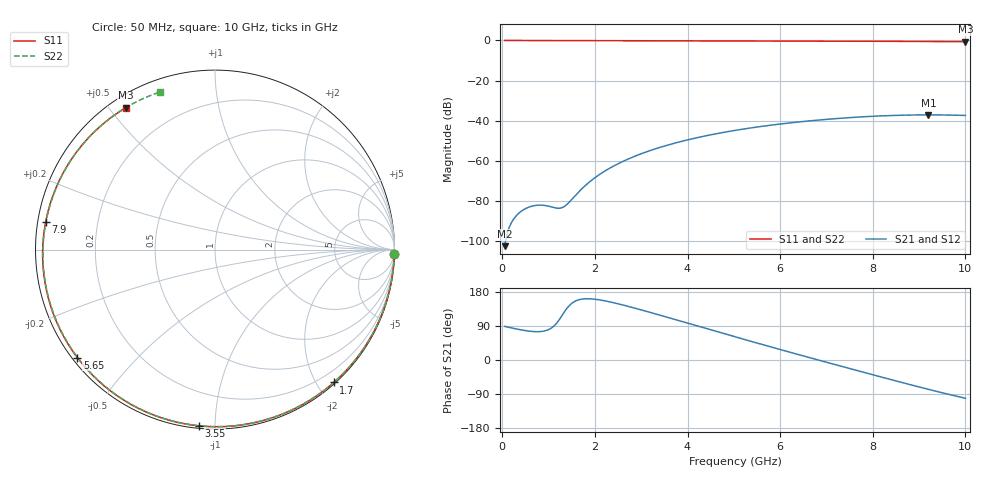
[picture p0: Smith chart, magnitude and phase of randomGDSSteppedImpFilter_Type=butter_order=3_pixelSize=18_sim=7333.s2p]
! freq	dB(S11)	phase(S11)	dB(S12)	phase(S12)
!  dB(S21)	phase(S21)	dB(S22)	phase(S22)
!S-par simulation data
#  GHz  S  DB  R 50
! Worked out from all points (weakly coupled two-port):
!   200 points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, 50 MHz to 10 GHz, reference 50 ohm
!   highest |S21| = -37.11 dB at 9.2 GHz (marker M1); lowest = -102.6 dB at 50 MHz (marker M2)
!   lowest |S11| = -0.6 dB at 10 GHz (marker M3), VSWR 29.01, Z = 2.25 + j27.6 ohm
!   |S11| at or under -10 dB: nowhere
!   |S22| runs from -0.6 to 0.0 dB; largest |S21 - S12| = 0
!   S11 on the Smith chart (normalised r, x): 50 MHz: 0, -78; 1.7 GHz: 0.02, -2.24; 3.55 GHz: 0.01, -0.91; 5.65 GHz: 0.01, -0.35; 7.9 GHz: 0.02, +0.08; 10 GHz: 0.04, +0.55
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0.05  -0.00 -1.5  -102.57 88.7  -102.57 88.7  -0.00 -1.4
0.7  -0.03 -20.2  -82.32 74.9  -82.32 74.9  -0.02 -19.0
1.45  -0.05 -41.3  -80.51 144.0  -80.51 144.0  -0.05 -39.1
1.5  -0.05 -42.7  -79.26 149.5  -79.26 149.5  -0.05 -40.4
1.7  -0.06 -48.2  -74.35 160.4  -74.35 160.4  -0.06 -45.6
1.75  -0.06 -49.5  -73.24 161.3  -73.24 161.3  -0.06 -46.9
2.05  -0.07 -57.6  -67.61 159.6  -67.61 159.6  -0.07 -54.6
2.45  -0.08 -68.0  -62.06 149.8  -62.06 149.8  -0.08 -64.7
2.9  -0.10 -79.4  -57.37 135.6  -57.37 135.6  -0.10 -75.9
3.4  -0.12 -91.7  -53.35 118.5  -53.35 118.5  -0.11 -87.9
3.55  -0.12 -95.2  -52.31 113.3  -52.31 113.3  -0.12 -91.5
4.3  -0.15 -112.6  -48.00 86.8  -48.00 86.8  -0.15 -108.9
5.05  -0.19 -129.1  -44.75 60.4  -44.75 60.4  -0.19 -125.9
5.65  -0.22 -141.9  -42.69 39.6  -42.69 39.6  -0.23 -139.3
6.2  -0.26 -153.4  -41.14 20.9  -41.14 20.9  -0.26 -151.7
6.7  -0.29 -163.9  -39.95 4.0  -39.95 4.0  -0.30 -163.1
7.3  -0.34 -176.4  -38.80 -15.9  -38.80 -15.9  -0.36 -177.1
7.9  -0.39 170.8  -37.92 -35.7  -37.92 -35.7  -0.41 168.4
8.35  -0.43 161.0  -37.46 -50.4  -37.46 -50.4  -0.46 156.9
8.8  -0.48 150.9  -37.19 -64.8  -37.19 -64.8  -0.51 144.8
9.2  -0.52 141.6  -37.11 -77.4  -37.11 -77.4  -0.55 133.6
10  -0.60 122.1  -37.39 -101.0  -37.39 -101.0  -0.63 109.3
